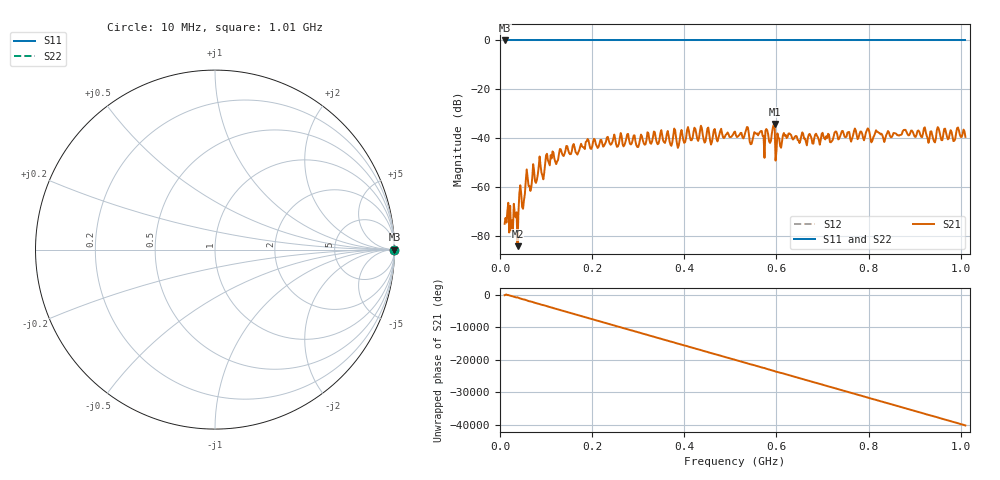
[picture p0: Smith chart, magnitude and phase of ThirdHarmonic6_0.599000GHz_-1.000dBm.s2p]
! 8/15/2025 7:32:26 PM
! C:\ANRITSUVNA\TEMP\TEMP.S2P
! CHANNEL.1
! TR.MEASUREMENT
! RAW.DATA
! RF.CORRECTION.OFF
! AVERAGING.OFF
! IF.BANDWIDTH: 5KHZ
! SWEEPTYPE:  FREQ.SWEEP(Linear)
! Reference Plane Port Info
! PORT:  PORT1  PORT2
! DISTANCE:  0  m  0  m
! TIME:  0  s  0  s
! PHASE.OFFSET:  0  deg.  0  deg.
! LOSS:  0  dB  0  dB
! REF.LOSS:  0  dB  0  dB
! REF.FREQ:  0  Hz  0  Hz
! Power Info
! POWER:  -20  dBm  -20  dBm
! EFF.POWER:  -20  dBm  -20  dBm
! SOURCE.ATTEN:  0  dB  0  dB
! TEST.ATTEN:  0  dB  0  dB
# GHZ S RI R 50.0
! FREQ.GHZ  S11RE  S11IM  S21RE  S21IM  S12RE  S12IM  S22RE  S22IM
!; PortSelection: Port_12
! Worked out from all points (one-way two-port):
!   501 points, 10 MHz to 1.01 GHz, reference 50 ohm
!   highest |S21| = -34.21 dB at 596 MHz (marker M1); lowest = -84.3 dB at 38 MHz (marker M2)
!   lowest |S11| = 0.0 dB at 10 MHz (marker M3)
!   |S11| at or under -10 dB: nowhere
!   |S22| runs from 0.0 to 0.0 dB; largest |S21 - S12| = 1
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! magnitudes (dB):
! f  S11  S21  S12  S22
! 10 MHz  0.0  -75.1  0.0  0.0
! 38 MHz  0.0  -84.3  0.0  0.0
! 44 MHz  0.0  -59.4  0.0  0.0
! 52 MHz  0.0  -65.5  0.0  0.0
! 58 MHz  0.0  -52.9  0.0  0.0
! 66 MHz  0.0  -61.7  0.0  0.0
! 86 MHz  0.0  -47.6  0.0  0.0
! 94 MHz  0.0  -56.9  0.0  0.0
! 102 MHz  0.0  -46.4  0.0  0.0
! 178 MHz  0.0  -43.4  0.0  0.0
! 344 MHz  0.0  -42.3  0.0  0.0
! 510 MHz  0.0  -37.3  0.0  0.0
! 536 MHz  0.0  -35.4  0.0  0.0
! 546 MHz  0.0  -42.4  0.0  0.0
! 564 MHz  0.0  -37.5  0.0  0.0
! 586 MHz  0.0  -42.0  0.0  0.0
! 592 MHz  0.0  -35.8  0.0  0.0
! 596 MHz  0.0  -34.2  0.0  0.0
! 602 MHz  0.0  -38.1  0.0  0.0
! 678 MHz  0.0  -42.2  0.0  0.0
! 844 MHz  0.0  -37.6  0.0  0.0
! 1.01 GHz  0.0  -39.5  0.0  0.0
